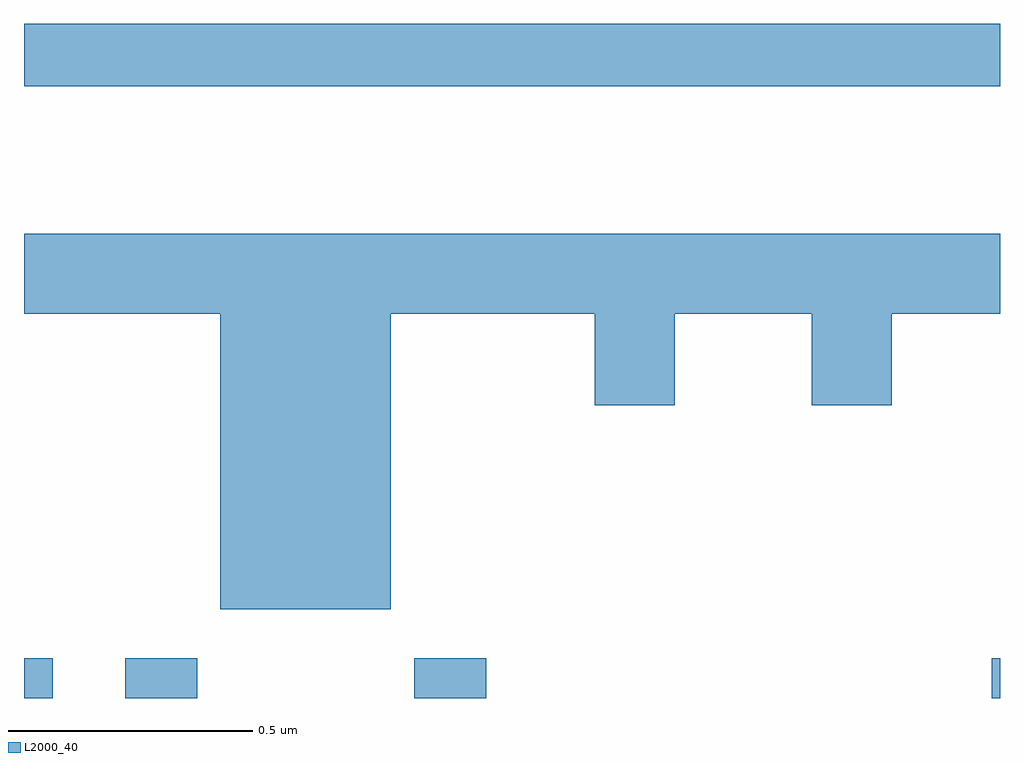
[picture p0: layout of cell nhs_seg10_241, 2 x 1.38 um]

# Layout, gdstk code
import gdstk
lib = gdstk.Library(unit=1e-6, precision=1e-09)
def R(c, l, rs):  # rectangles x0, y0, x1, y1
    for r in rs: c.add(gdstk.rectangle(r[:2], r[2:], *l))
def P(c, l, *ps):  # polygons
    for p in ps: c.add(gdstk.Polygon(p, *l))
L2000_40 = (2000, 40)

nhs_seg10_241 = lib.new_cell('nhs_seg10_241')
R(nhs_seg10_241, L2000_40, [(113,1327.5,113.059,1327.582), (113.207,1327.5,113.355,1327.582), (113.8,1327.5,113.947,1327.582), (114.983,1327.5,115,1327.582), (113,1328.754,115,1328.882)])
P(nhs_seg10_241, L2000_40, [(113.752,1328.288),(114.17,1328.288),(114.17,1328.1),(114.334,1328.1),(114.334,1328.288),(114.614,1328.288),(114.614,1328.1),(114.778,1328.1),(114.778,1328.288),(115,1328.288),(115,1328.452),(113,1328.452),(113,1328.288),(113.402,1328.288),(113.402,1327.682),(113.752,1327.682)])

lib.write_gds('nhs_seg10_241.gds')
